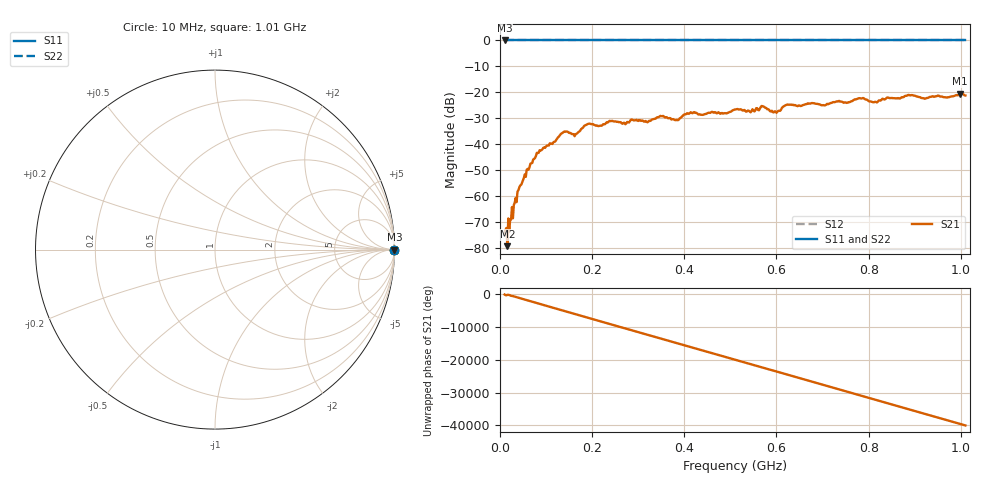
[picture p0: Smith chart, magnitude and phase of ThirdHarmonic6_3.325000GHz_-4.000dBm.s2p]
! 8/17/2025 10:25:40 AM
! C:\ANRITSUVNA\TEMP\TEMP.S2P
! CHANNEL.1
! TR.MEASUREMENT
! RAW.DATA
! RF.CORRECTION.OFF
! AVERAGING.OFF
! IF.BANDWIDTH: 5KHZ
! SWEEPTYPE:  FREQ.SWEEP(Linear)
! Reference Plane Port Info
! PORT:  PORT1  PORT2
! DISTANCE:  0  m  0  m
! TIME:  0  s  0  s
! PHASE.OFFSET:  0  deg.  0  deg.
! LOSS:  0  dB  0  dB
! REF.LOSS:  0  dB  0  dB
! REF.FREQ:  0  Hz  0  Hz
! Power Info
! POWER:  -20  dBm  -20  dBm
! EFF.POWER:  -20  dBm  -20  dBm
! SOURCE.ATTEN:  0  dB  0  dB
! TEST.ATTEN:  0  dB  0  dB
# GHZ S RI R 50.0
! FREQ.GHZ  S11RE  S11IM  S21RE  S21IM  S12RE  S12IM  S22RE  S22IM
!; PortSelection: Port_12
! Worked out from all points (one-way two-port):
!   501 points, 10 MHz to 1.01 GHz, reference 50 ohm
!   highest |S21| = -20.49 dB at 998 MHz (marker M1); lowest = -79.4 dB at 16 MHz (marker M2)
!   lowest |S11| = 0.0 dB at 10 MHz (marker M3)
!   |S11| at or under -10 dB: nowhere
!   |S22| runs from 0.0 to 0.0 dB; largest |S21 - S12| = 1.1
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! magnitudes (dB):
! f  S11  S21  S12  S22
! 10 MHz  0.0  -74.5  0.0  0.0
! 16 MHz  0.0  -79.4  0.0  0.0
! 42 MHz  0.0  -56.6  0.0  0.0
! 82 MHz  0.0  -43.4  0.0  0.0
! 136 MHz  0.0  -35.6  0.0  0.0
! 164 MHz  0.0  -36.2  0.0  0.0
! 178 MHz  0.0  -33.9  0.0  0.0
! 192 MHz  0.0  -32.2  0.0  0.0
! 318 MHz  0.0  -31.3  0.0  0.0
! 344 MHz  0.0  -29.6  0.0  0.0
! 384 MHz  0.0  -30.6  0.0  0.0
! 410 MHz  0.0  -28.3  0.0  0.0
! 510 MHz  0.0  -26.6  0.0  0.0
! 570 MHz  0.0  -25.4  0.0  0.0
! 598 MHz  0.0  -27.4  0.0  0.0
! 622 MHz  0.0  -24.8  0.0  0.0
! 678 MHz  0.0  -24.2  0.0  0.0
! 784 MHz  0.0  -22.4  0.0  0.0
! 814 MHz  0.0  -23.7  0.0  0.0
! 844 MHz  0.0  -22.2  0.0  0.0
! 998 MHz  0.0  -20.5  0.0  0.0
! 1.01 GHz  0.0  -21.2  0.0  0.0
